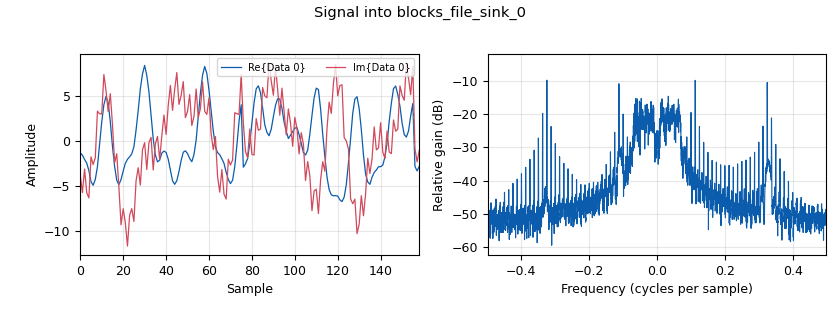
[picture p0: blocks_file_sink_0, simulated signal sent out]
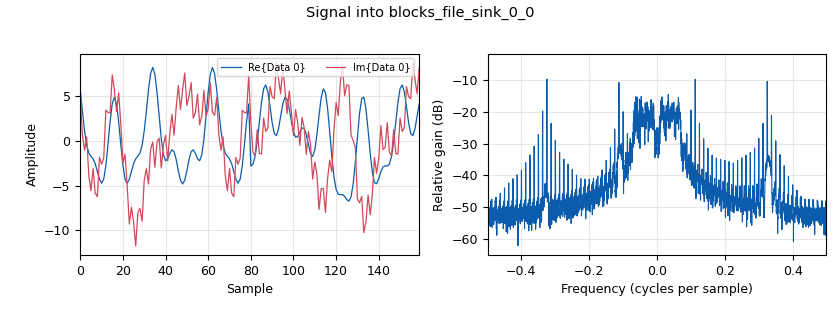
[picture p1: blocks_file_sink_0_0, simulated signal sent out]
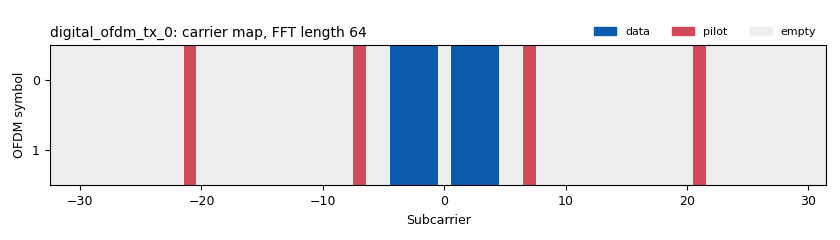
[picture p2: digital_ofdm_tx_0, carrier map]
options:
  parameters:
    author: satya
    generate_options: no_gui
    id: dataset_gnu
    output_language: python
    title: Not titled yet
  states: {}

blocks:
- name: samp_rate
  id: variable
  parameters:
    value: '2000000'
  states: {}
- name: analog_random_source_x_0
  id: analog_random_source_x
  parameters:
    max: '255'
    min: '0'
    num_samps: '1000'
    repeat: 'True'
    type: byte
  states: {}
- name: blocks_file_sink_0
  id: blocks_file_sink
  parameters:
    file: D:\Bunker\OneDrive - Amrita vishwa vidyapeetham\BaseCamp\AudioScrubber\dataset\OFDM\noisy_ofdm.iq
    type: complex
  states: {}
- name: blocks_file_sink_0_0
  id: blocks_file_sink
  parameters:
    file: D:\Bunker\OneDrive - Amrita vishwa vidyapeetham\BaseCamp\AudioScrubber\dataset\OFDM\clean_ofdm.iq
    type: complex
  states: {}
- name: blocks_stream_to_tagged_stream_0
  id: blocks_stream_to_tagged_stream
  parameters:
    len_tag_key: '"packet_len"'
    minoutbuf: '65536'
    packet_len: '96'
    type: byte
  states: {}
- name: blocks_throttle2_0
  id: blocks_throttle2
  parameters:
    samples_per_second: samp_rate
    type: byte
  states: {}
- name: channels_channel_model_0
  id: channels_channel_model
  parameters:
    epsilon: '1.0'
    freq_offset: '0.0'
    noise_voltage: '0.15'
    seed: '0'
    taps: '1.0'
  states: {}
- name: digital_crc32_bb_1
  id: digital_crc32_bb
  parameters:
    check: 'False'
    lengthtagname: '"packet_len"'
    minoutbuf: '65536'
    packed: 'True'
  states: {}
- name: digital_ofdm_tx_0
  id: digital_ofdm_tx
  parameters:
    cp_len: '16'
    fft_len: '64'
    header_mod: '"QPSK"'
    minoutbuf: '65536'
    occupied_carriers: ((-4, -3, -2, -1, 1, 2, 3, 4),)
    packet_len_key: '"packet_len"'
    payload_mod: '"QPSK"'
    pilot_carriers: ((-21, -7, 7, 21,),)
    pilot_symbols: ((1, 1, 1, -1),)
    rolloff: '0'
    sync_word1: None
    sync_word2: None
  states: {}

connections:
- [analog_random_source_x_0, '0', blocks_throttle2_0, '0']
- [blocks_stream_to_tagged_stream_0, '0', digital_crc32_bb_1, '0']
- [blocks_throttle2_0, '0', blocks_stream_to_tagged_stream_0, '0']
- [channels_channel_model_0, '0', blocks_file_sink_0, '0']
- [digital_crc32_bb_1, '0', digital_ofdm_tx_0, '0']
- [digital_ofdm_tx_0, '0', blocks_file_sink_0_0, '0']
- [digital_ofdm_tx_0, '0', channels_channel_model_0, '0']

metadata:
  file_format: 1
  grc_version: 3.10.11.0
